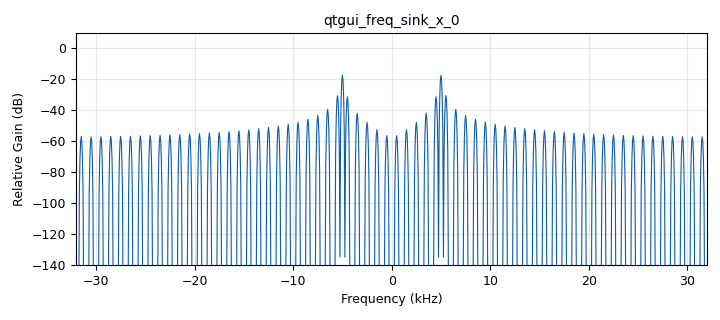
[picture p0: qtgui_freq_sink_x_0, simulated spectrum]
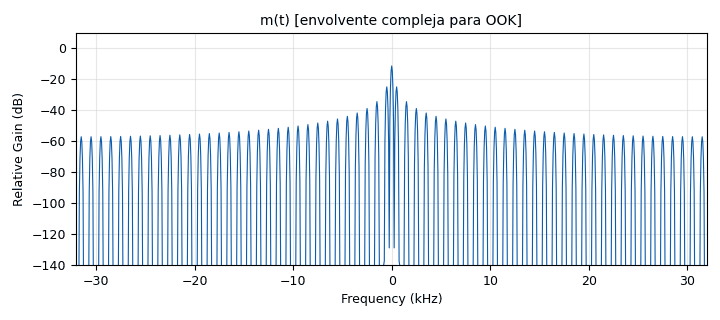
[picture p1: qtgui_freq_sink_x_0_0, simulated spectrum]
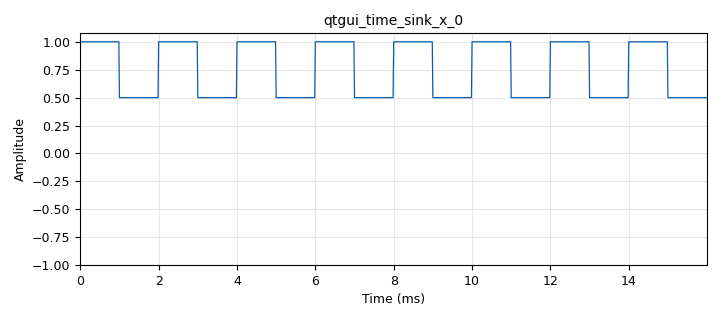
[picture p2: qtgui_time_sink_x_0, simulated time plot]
options:
  parameters:
    generate_options: qt_gui
    id: default
    output_language: python
    title: Not titled yet
  states: {}

blocks:
- name: samp_rate
  id: variable
  parameters:
    value: '64000'
  states: {}
- name: analog_sig_source_x_0
  id: analog_sig_source_x
  parameters:
    amp: '0.5'
    freq: '500'
    offset: '0.5'
    phase: '0'
    samp_rate: samp_rate
    type: float
    waveform: analog.GR_SQR_WAVE
  states: {}
- name: analog_sig_source_x_0_0
  id: analog_sig_source_x
  parameters:
    amp: '1'
    freq: '5000'
    offset: '0'
    phase: '0'
    samp_rate: samp_rate
    type: float
    waveform: analog.GR_COS_WAVE
  states: {}
- name: blocks_multiply_xx_0
  id: blocks_multiply_xx
  parameters:
    type: float
  states: {}
- name: qtgui_freq_sink_x_0
  id: qtgui_freq_sink_x
  parameters:
    bw: samp_rate
    fc: '0'
    fftsize: '1024'
    type: float
  states: {}
- name: qtgui_freq_sink_x_0_0
  id: qtgui_freq_sink_x
  parameters:
    bw: samp_rate
    fc: '0'
    fftsize: '1024'
    name: m(t) [envolvente compleja para OOK]
    type: float
  states: {}
- name: qtgui_time_sink_x_0
  id: qtgui_time_sink_x
  parameters:
    size: '1024'
    srate: samp_rate
    type: float
  states: {}

connections:
- [analog_sig_source_x_0, '0', blocks_multiply_xx_0, '0']
- [analog_sig_source_x_0, '0', qtgui_freq_sink_x_0_0, '0']
- [analog_sig_source_x_0, '0', qtgui_time_sink_x_0, '0']
- [analog_sig_source_x_0_0, '0', blocks_multiply_xx_0, '1']
- [blocks_multiply_xx_0, '0', qtgui_freq_sink_x_0, '0']

metadata:
  file_format: 1
  grc_version: 3.10.12.0
